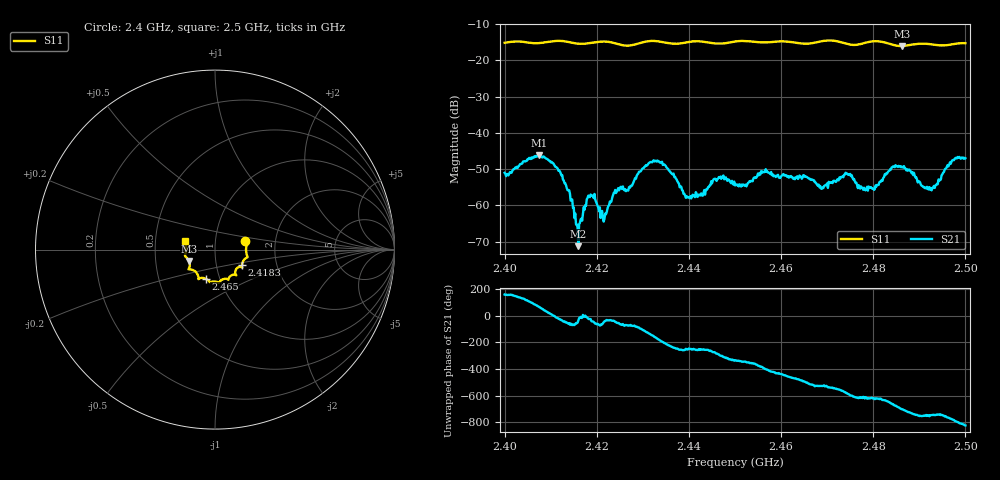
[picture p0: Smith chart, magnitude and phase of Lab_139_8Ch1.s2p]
# Hz S RI R 50
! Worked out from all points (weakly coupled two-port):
!   601 points, 2.4 GHz to 2.5 GHz, reference 50 ohm
!   highest |S21| = -46.13 dB at 2.4075 GHz (marker M1); lowest = -71.3 dB at 2.416 GHz (marker M2)
!   lowest |S11| = -16.0 dB at 2.4862 GHz (marker M3), VSWR 1.37, Z = 37.1 - j4.83 ohm
!   |S11| at or under -10 dB: start of sweep to end of sweep
!   S12 and S22 are empty: the file has one direction only
!   S11 on the Smith chart (normalised r, x): 2.4 GHz: 1.40, +0.13; 2.4183 GHz: 1.33, -0.24; 2.465 GHz: 0.86, -0.29; 2.5 GHz: 0.71, +0.07
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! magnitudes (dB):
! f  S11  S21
! 2.4 GHz  -15.1  -51.0
! 2.4075 GHz  -15.2  -46.1
! 2.412 GHz  -14.6  -50.6
! 2.416 GHz  -15.4  -71.3
! 2.4167 GHz  -15.4  -63.7
! 2.4183 GHz  -15.2  -57.5
! 2.4218 GHz  -14.8  -62.3
! 2.4242 GHz  -15.4  -56.6
! 2.4333 GHz  -14.7  -47.8
! 2.4397 GHz  -15.0  -57.8
! 2.447 GHz  -15.3  -52.7
! 2.45 GHz  -14.8  -54.5
! 2.4562 GHz  -15.0  -50.8
! 2.465 GHz  -15.4  -51.7
! 2.4667 GHz  -15.2  -52.9
! 2.4688 GHz  -14.7  -55.4
! 2.4745 GHz  -15.5  -51.5
! 2.4798 GHz  -14.7  -55.4
! 2.4833 GHz  -15.3  -50.6
! 2.4862 GHz  -16.0  -49.3
! 2.4923 GHz  -15.5  -55.7
! 2.5 GHz  -15.2  -47.0
